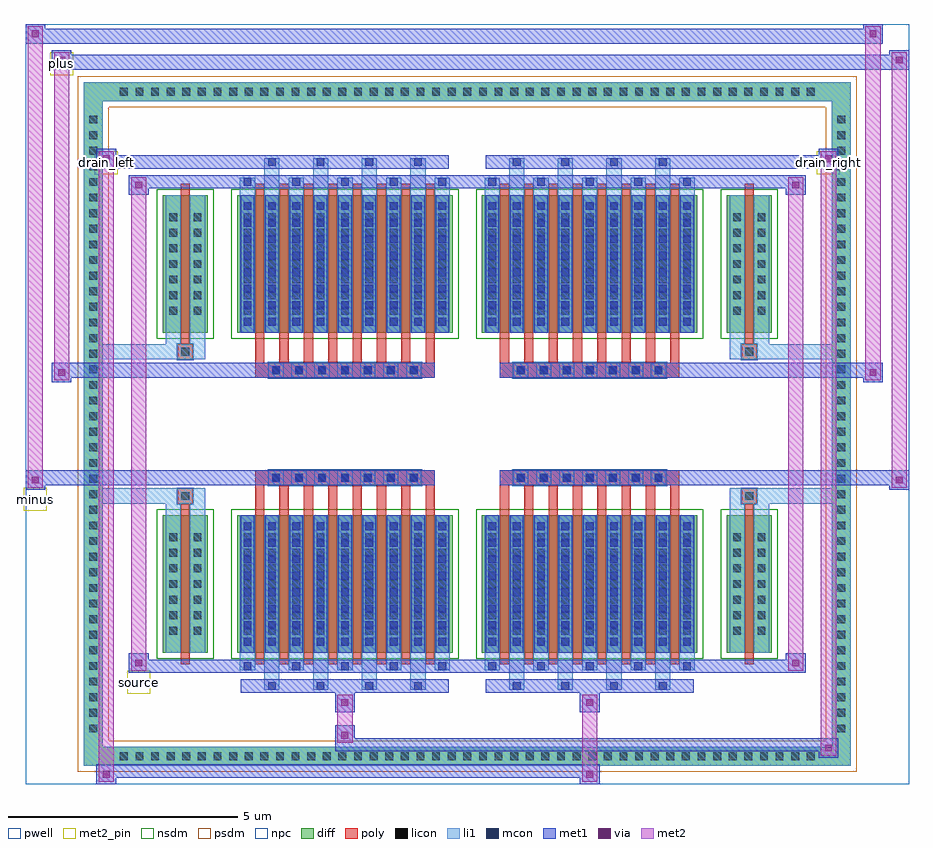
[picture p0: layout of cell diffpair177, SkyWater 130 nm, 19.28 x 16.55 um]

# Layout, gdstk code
import gdstk
lib = gdstk.Library(unit=1e-6, precision=5e-09)
def R(c, l, rs):  # rectangles x0, y0, x1, y1
    for r in rs: c.add(gdstk.rectangle(r[:2], r[2:], *l))
def A(c, l, x, y, w, h, nx, ny, dx, dy):  # array of equal rectangles
    R(c, l, [(x+i*dx, y+j*dy, x+i*dx+w, y+j*dy+h) for i in range(nx) for j in range(ny)])
def P(c, l, *ps):  # polygons
    for p in ps: c.add(gdstk.Polygon(p, *l))
pwell = (64, 44)
diff = (65, 20)
poly = (66, 20)
licon = (66, 44)
li1 = (67, 20)
mcon = (67, 44)
met1 = (68, 20)
via = (68, 44)
met2_pin = (69, 16)
met2 = (69, 20)
nsdm = (93, 44)
psdm = (94, 20)
npc = (95, 20)

diffpair177 = lib.new_cell('diffpair177')
R(diffpair177, pwell, [(-9.62,-7.84,9.62,8.71), (-6.94,-6.03,-0.01,-0.805), (0.01,-6.03,6.94,-0.805), (-6.94,0.805,-0.01,6.03), (0.01,0.805,6.94,6.03)])
A(diffpair177, diff, -7.685, -7.44, 0.41, 0.41, 45, 2, 0.34, 14.47)
A(diffpair177, diff, -8.35, -6.835, 0.41, 0.41, 1, 40, 0, 0.34)
A(diffpair177, diff, 7.94, -6.835, 0.41, 0.41, 1, 40, 0, 0.34)
R(diffpair177, diff, [(-7.685,-7.44,7.685,-7.03), (-8.35,-6.835,-7.94,6.835), (7.94,-6.835,8.35,6.835), (-6.63,-4.985,-5.65,-1.985), (-5.01,-4.985,-0.32,-1.985), (0.32,-4.985,5.01,-1.985), (5.65,-4.985,6.63,-1.985), (-6.63,1.985,-5.65,4.985), (-5.01,1.985,-0.32,4.985), (0.32,1.985,5.01,4.985), (5.65,1.985,6.63,4.985), (-7.685,7.03,7.685,7.44)])
P(diffpair177, diff, [(8.35,7.44),(-8.35,7.44),(-8.35,-7.03),(-7.94,-7.03),(-7.94,7.03),(7.94,7.03),(7.94,-7.03),(-7.94,-7.03),(-8.35,-7.03),(-8.35,-7.44),(8.35,-7.44)])
A(diffpair177, poly, -4.62, -5.235, 0.2, 3.5, 8, 2, 0.53, 6.97)
A(diffpair177, poly, 0.71, -5.235, 0.2, 3.5, 8, 2, 0.53, 6.97)
A(diffpair177, poly, -4.62, -1.735, 0.2, 0.4, 8, 2, 0.53, 3.07)
A(diffpair177, poly, 0.71, -1.735, 0.2, 0.4, 8, 2, 0.53, 3.07)
A(diffpair177, poly, -4.33, -1.335, 0.33, 0.33, 7, 2, 0.5, 2.34)
A(diffpair177, poly, 1, -1.335, 0.33, 0.33, 7, 2, 0.5, 2.34)
R(diffpair177, poly, [(-6.24,-5.235,-6.04,-1.735), (6.04,-5.235,6.24,-1.735), (-6.305,-1.735,-5.975,-1.405), (-6.305,-1.735,-5.975,-1.405), (5.975,-1.735,6.305,-1.405), (5.975,-1.735,6.305,-1.405), (-4.62,-1.335,-0.71,-1.005), (0.71,-1.335,4.62,-1.005), (-4.62,1.005,-0.71,1.335), (0.71,1.005,4.62,1.335), (-6.305,1.405,-5.975,1.735), (-6.305,1.405,-5.975,1.735), (5.975,1.405,6.305,1.735), (5.975,1.405,6.305,1.735), (-6.24,1.735,-6.04,5.235), (6.04,1.735,6.24,5.235)])
A(diffpair177, licon, -7.565, -7.32, 0.17, 0.17, 45, 2, 0.34, 14.47)
A(diffpair177, licon, -8.23, -6.715, 0.17, 0.17, 1, 40, 0, 0.34)
A(diffpair177, licon, 8.06, -6.715, 0.17, 0.17, 1, 40, 0, 0.34)
A(diffpair177, licon, -6.49, -4.59, 0.17, 0.17, 1, 7, 0, 0.34)
A(diffpair177, licon, -5.96, -4.59, 0.17, 0.17, 1, 7, 0, 0.34)
A(diffpair177, licon, -4.87, -4.59, 0.17, 0.17, 9, 7, 0.53, 0.34)
A(diffpair177, licon, 0.46, -4.59, 0.17, 0.17, 9, 7, 0.53, 0.34)
A(diffpair177, licon, 5.79, -4.59, 0.17, 0.17, 1, 7, 0, 0.34)
A(diffpair177, licon, 6.32, -4.59, 0.17, 0.17, 1, 7, 0, 0.34)
A(diffpair177, licon, -4.25, -1.255, 0.17, 0.17, 7, 2, 0.5, 2.34)
A(diffpair177, licon, 1.08, -1.255, 0.17, 0.17, 7, 2, 0.5, 2.34)
A(diffpair177, licon, -6.49, 2.38, 0.17, 0.17, 1, 7, 0, 0.34)
A(diffpair177, licon, -5.96, 2.38, 0.17, 0.17, 1, 7, 0, 0.34)
A(diffpair177, licon, -4.87, 2.38, 0.17, 0.17, 9, 7, 0.53, 0.34)
A(diffpair177, licon, 0.46, 2.38, 0.17, 0.17, 9, 7, 0.53, 0.34)
A(diffpair177, licon, 5.79, 2.38, 0.17, 0.17, 1, 7, 0, 0.34)
A(diffpair177, licon, 6.32, 2.38, 0.17, 0.17, 1, 7, 0, 0.34)
R(diffpair177, licon, [(-6.225,-1.655,-6.055,-1.485), (6.055,-1.655,6.225,-1.485), (-6.225,1.485,-6.055,1.655), (6.055,1.485,6.225,1.655)])
A(diffpair177, li1, -7.645, -7.4, 0.33, 0.33, 45, 2, 0.34, 14.47)
A(diffpair177, li1, -8.31, -6.795, 0.33, 0.33, 1, 40, 0, 0.34)
A(diffpair177, li1, 7.98, -6.795, 0.33, 0.33, 1, 40, 0, 0.34)
A(diffpair177, li1, -4.42, -5.79, 0.33, 0.805, 4, 2, 1.06, 10.775)
A(diffpair177, li1, -4.34, -5.79, 0.17, 0.17, 4, 2, 1.06, 11.41)
A(diffpair177, li1, 0.91, -5.79, 0.33, 0.805, 4, 2, 1.06, 10.775)
A(diffpair177, li1, 0.99, -5.79, 0.17, 0.17, 4, 2, 1.06, 11.41)
A(diffpair177, li1, -4.95, -5.36, 0.33, 0.375, 5, 2, 1.06, 10.345)
A(diffpair177, li1, -4.87, -5.36, 0.17, 0.17, 5, 2, 1.06, 10.55)
A(diffpair177, li1, 0.38, -5.36, 0.33, 0.375, 5, 2, 1.06, 10.345)
A(diffpair177, li1, 0.46, -5.36, 0.17, 0.17, 5, 2, 1.06, 10.55)
A(diffpair177, li1, -4.95, -4.985, 0.33, 3, 9, 2, 0.53, 6.97)
A(diffpair177, li1, 0.38, -4.985, 0.33, 3, 9, 2, 0.53, 6.97)
A(diffpair177, li1, -4.87, -4.83, 0.17, 0.17, 9, 8, 0.53, 0.36)
A(diffpair177, li1, -4.87, -4.83, 0.17, 2.69, 9, 2, 0.53, 6.97)
A(diffpair177, li1, 0.46, -4.83, 0.17, 0.17, 9, 8, 0.53, 0.36)
A(diffpair177, li1, 0.46, -4.83, 0.17, 2.69, 9, 2, 0.53, 6.97)
A(diffpair177, li1, -6.57, -4.67, 0.33, 0.33, 1, 7, 0, 0.34)
A(diffpair177, li1, -6.04, -4.67, 0.33, 0.33, 1, 7, 0, 0.34)
A(diffpair177, li1, -4.95, -4.67, 0.33, 0.33, 9, 7, 0.53, 0.34)
A(diffpair177, li1, 0.38, -4.67, 0.33, 0.33, 9, 7, 0.53, 0.34)
A(diffpair177, li1, 5.71, -4.67, 0.33, 0.33, 1, 7, 0, 0.34)
A(diffpair177, li1, 6.24, -4.67, 0.33, 0.33, 1, 7, 0, 0.34)
A(diffpair177, li1, -4.33, -1.335, 0.33, 0.33, 7, 2, 0.5, 2.34)
A(diffpair177, li1, 1, -1.335, 0.33, 0.33, 7, 2, 0.5, 2.34)
A(diffpair177, li1, -4.87, 2.14, 0.17, 0.17, 9, 8, 0.53, 0.36)
A(diffpair177, li1, 0.46, 2.14, 0.17, 0.17, 9, 8, 0.53, 0.36)
A(diffpair177, li1, -6.57, 2.3, 0.33, 0.33, 1, 7, 0, 0.34)
A(diffpair177, li1, -6.04, 2.3, 0.33, 0.33, 1, 7, 0, 0.34)
A(diffpair177, li1, -4.95, 2.3, 0.33, 0.33, 9, 7, 0.53, 0.34)
A(diffpair177, li1, 0.38, 2.3, 0.33, 0.33, 9, 7, 0.53, 0.34)
A(diffpair177, li1, 5.71, 2.3, 0.33, 0.33, 1, 7, 0, 0.34)
A(diffpair177, li1, 6.24, 2.3, 0.33, 0.33, 1, 7, 0, 0.34)
R(diffpair177, li1, [(-8.35,-7.44,-7.94,-7.03), (-8.35,-7.44,-7.94,-7.03), (-7.94,-7.44,7.94,-7.03), (7.94,-7.44,8.35,-7.03), (7.94,-7.44,8.35,-7.03), (-8.35,-7.03,-7.94,7.03), (7.94,-7.03,8.35,7.03), (-6.57,-4.985,-6.24,-1.985), (-6.04,-4.985,-5.71,-1.985), (5.71,-4.985,6.04,-1.985), (6.24,-4.985,6.57,-1.985), (-6.57,-1.985,-6.24,-1.405), (-6.04,-1.985,-5.71,-1.405), (5.71,-1.985,6.04,-1.405), (6.24,-1.985,6.57,-1.405), (-8.35,-1.735,-6.305,-1.405), (-6.57,-1.735,-6.305,-1.405), (-6.305,-1.735,-5.975,-1.405), (-5.975,-1.735,-5.71,-1.405), (5.71,-1.735,5.975,-1.405), (5.975,-1.735,6.305,-1.405), (5.975,-1.735,8.35,-1.405), (6.305,-1.735,6.57,-1.405), (-8.35,1.405,-6.305,1.735), (-6.57,1.405,-6.305,1.735), (-6.57,1.405,-6.24,1.985), (-6.305,1.405,-5.975,1.735), (-6.04,1.405,-5.71,1.985), (-5.975,1.405,-5.71,1.735), (5.71,1.405,5.975,1.735), (5.71,1.405,6.04,1.985), (5.975,1.405,6.305,1.735), (5.975,1.405,8.35,1.735), (6.24,1.405,6.57,1.985), (6.305,1.405,6.57,1.735), (-6.57,1.985,-6.24,4.985), (-6.04,1.985,-5.71,4.985), (5.71,1.985,6.04,4.985), (6.24,1.985,6.57,4.985), (-8.35,7.03,-7.94,7.44), (-8.35,7.03,-7.94,7.44), (-7.94,7.03,7.94,7.44), (7.94,7.03,8.35,7.44), (7.94,7.03,8.35,7.44)])
A(diffpair177, mcon, -4.34, -5.79, 0.17, 0.17, 4, 2, 1.06, 11.41)
A(diffpair177, mcon, 0.99, -5.79, 0.17, 0.17, 4, 2, 1.06, 11.41)
A(diffpair177, mcon, -4.87, -5.36, 0.17, 0.17, 5, 2, 1.06, 10.55)
A(diffpair177, mcon, 0.46, -5.36, 0.17, 0.17, 5, 2, 1.06, 10.55)
A(diffpair177, mcon, -4.87, -4.83, 0.17, 0.17, 9, 8, 0.53, 0.36)
A(diffpair177, mcon, 0.46, -4.83, 0.17, 0.17, 9, 8, 0.53, 0.36)
A(diffpair177, mcon, -4.25, -1.255, 0.17, 0.17, 7, 2, 0.5, 2.34)
A(diffpair177, mcon, 1.08, -1.255, 0.17, 0.17, 7, 2, 0.5, 2.34)
A(diffpair177, mcon, -4.87, 2.14, 0.17, 0.17, 9, 8, 0.53, 0.36)
A(diffpair177, mcon, 0.46, 2.14, 0.17, 0.17, 9, 8, 0.53, 0.36)
A(diffpair177, met1, -4.4, -5.85, 0.29, 0.29, 4, 2, 1.06, 11.41)
A(diffpair177, met1, 0.93, -5.85, 0.29, 0.29, 4, 2, 1.06, 11.41)
A(diffpair177, met1, -4.93, -5.42, 0.29, 0.29, 5, 2, 1.06, 10.55)
A(diffpair177, met1, 0.4, -5.42, 0.29, 0.29, 5, 2, 1.06, 10.55)
A(diffpair177, met1, -4.93, -4.985, 0.29, 3, 9, 2, 0.53, 6.97)
A(diffpair177, met1, 0.4, -4.985, 0.29, 3, 9, 2, 0.53, 6.97)
A(diffpair177, met1, -4.93, -4.89, 0.29, 0.29, 9, 8, 0.53, 0.36)
A(diffpair177, met1, 0.4, -4.89, 0.29, 0.29, 9, 8, 0.53, 0.36)
A(diffpair177, met1, -4.31, -1.315, 0.29, 0.29, 7, 2, 0.5, 2.34)
A(diffpair177, met1, 1.02, -1.315, 0.29, 0.29, 7, 2, 0.5, 2.34)
A(diffpair177, met1, -4.93, 2.08, 0.29, 0.29, 9, 8, 0.53, 0.36)
A(diffpair177, met1, 0.4, 2.08, 0.29, 0.29, 9, 8, 0.53, 0.36)
R(diffpair177, met1, [(-8.08,-7.84,-7.65,-7.41), (2.45,-7.84,2.88,-7.41), (-8.08,-7.7,2.88,-7.41), (7.65,-7.27,8.08,-6.84), (-2.88,-7.13,8.08,-6.84), (-2.88,-6.99,-2.45,-6.56), (-2.88,-6.28,-2.45,-5.85), (2.45,-6.28,2.88,-5.85), (-4.93,-5.85,-0.4,-5.56), (0.4,-5.85,4.93,-5.56), (-7.37,-5.42,-6.94,-4.99), (-7.37,-5.42,-4.93,-5.13), (-4.93,-5.42,-0.4,-5.13), (-0.4,-5.42,0.4,-5.13), (0.4,-5.42,4.93,-5.13), (4.93,-5.42,7.37,-5.13), (6.94,-5.42,7.37,-4.99), (-9.62,-1.435,-9.19,-1.005), (9.19,-1.435,9.62,-1.005), (-9.62,-1.335,-0.71,-1.005), (-4.62,-1.335,-0.71,-1.005), (0.71,-1.335,4.62,-1.005), (0.71,-1.335,9.62,-1.005), (-9.05,0.905,-8.62,1.335), (8.62,0.905,9.05,1.335), (-9.05,1.005,-4.62,1.335), (-4.62,1.005,-0.71,1.335), (0.71,1.005,4.62,1.335), (4.62,1.005,9.05,1.335), (-7.37,4.99,-6.94,5.42), (6.94,4.99,7.37,5.42), (-7.37,5.13,-4.93,5.42), (-4.93,5.13,-0.4,5.42), (-0.4,5.13,0.4,5.42), (0.4,5.13,4.93,5.42), (4.93,5.13,7.37,5.42), (-8.08,5.56,-7.65,5.99), (-8.08,5.56,-4.93,5.85), (-4.93,5.56,-0.4,5.85), (0.4,5.56,4.93,5.85), (4.93,5.56,8.08,5.85), (7.65,5.56,8.08,5.99), (-9.05,7.71,-8.62,8.14), (-9.05,7.71,-6.94,8.04), (-6.94,7.71,6.94,8.04), (6.94,7.71,9.62,8.04), (9.19,7.71,9.62,8.14), (-9.62,8.28,-9.19,8.71), (-9.62,8.28,-6.94,8.61), (-6.94,8.28,6.94,8.61), (6.94,8.28,9.05,8.61), (8.62,8.28,9.05,8.71)])
R(diffpair177, via, [(-7.94,-7.7,-7.79,-7.55), (2.59,-7.7,2.74,-7.55), (7.79,-7.13,7.94,-6.98), (-2.74,-6.85,-2.59,-6.7), (-2.74,-6.14,-2.59,-5.99), (2.59,-6.14,2.74,-5.99), (-7.23,-5.28,-7.08,-5.13), (7.08,-5.28,7.23,-5.13), (-9.48,-1.295,-9.33,-1.145), (9.33,-1.295,9.48,-1.145), (-8.91,1.045,-8.76,1.195), (8.76,1.045,8.91,1.195), (-7.23,5.13,-7.08,5.28), (7.08,5.13,7.23,5.28), (-7.94,5.7,-7.79,5.85), (7.79,5.7,7.94,5.85), (-8.91,7.85,-8.76,8), (9.33,7.85,9.48,8), (-9.48,8.42,-9.33,8.57), (8.76,8.42,8.91,8.57)])
R(diffpair177, met2_pin, [(-7.405,-5.87,-6.905,-5.37), (-9.655,-1.885,-9.155,-1.385), (-8.115,5.44,-7.615,5.94), (7.615,5.44,8.115,5.94), (-9.085,7.59,-8.585,8.09)])
R(diffpair177, met2, [(-8.03,-7.79,-7.7,-7.46), (-8.03,-7.79,-7.7,5.94), (2.5,-7.79,2.83,-7.46), (2.5,-7.46,2.83,-6.23), (7.7,-7.22,8.03,-6.89), (7.7,-7.22,8.03,5.94), (-2.83,-6.94,-2.5,-6.61), (-2.83,-6.61,-2.5,-6.23), (-2.83,-6.23,-2.5,-5.9), (2.5,-6.23,2.83,-5.9), (-7.32,-5.37,-6.99,-5.04), (-7.32,-5.37,-6.99,5.37), (6.99,-5.37,7.32,-5.04), (6.99,-5.37,7.32,5.37), (-9.57,-1.385,-9.24,-1.055), (-9.57,-1.385,-9.24,8.66), (9.24,-1.385,9.57,-1.055), (9.24,-1.385,9.57,8.09), (-9,0.955,-8.67,1.285), (-9,0.955,-8.67,8.09), (8.67,0.955,9,1.285), (8.67,0.955,9,8.66), (-7.32,5.04,-6.99,5.37), (6.99,5.04,7.32,5.37), (-8.03,5.61,-7.7,5.94), (7.7,5.61,8.03,5.94), (-9,7.76,-8.67,8.09), (9.24,7.76,9.57,8.09), (-9.57,8.33,-9.24,8.66), (8.67,8.33,9,8.66)])
P(diffpair177, met2, [(9.57,-1.385),(9.57,-1.385),(9.57,-1.055),(9.57,-1.055)],
  [(9.57,7.76),(9.57,7.76),(9.57,8.09),(9.57,8.09)],
  [(-9.24,-1.385),(-9.24,-1.385),(-9.24,-1.055),(-9.24,-1.055)],
  [(-9.24,8.33),(-9.24,8.33),(-9.24,8.66),(-9.24,8.66)],
  [(9,0.955),(9,0.955),(9,1.285),(9,1.285)],
  [(9,8.33),(9,8.33),(9,8.66),(9,8.66)],
  [(-8.67,0.955),(-8.67,0.955),(-8.67,1.285),(-8.67,1.285)],
  [(-8.67,7.76),(-8.67,7.76),(-8.67,8.09),(-8.67,8.09)],
  [(-7.7,-7.79),(-7.7,-7.79),(-7.7,-7.46),(-7.7,-7.46)],
  [(-7.7,5.61),(-7.7,5.61),(-7.7,5.94),(-7.7,5.94)],
  [(8.03,-7.22),(8.03,-7.22),(8.03,-6.89),(8.03,-6.89)],
  [(8.03,5.61),(8.03,5.61),(8.03,5.94),(8.03,5.94)],
  [(-6.99,-5.37),(-6.99,-5.37),(-6.99,-5.04),(-6.99,-5.04)],
  [(-6.99,5.04),(-6.99,5.04),(-6.99,5.37),(-6.99,5.37)],
  [(7.32,-5.37),(7.32,-5.37),(7.32,-5.04),(7.32,-5.04)],
  [(7.32,5.04),(7.32,5.04),(7.32,5.37),(7.32,5.37)])
R(diffpair177, nsdm, [(-6.76,-5.115,-5.52,-1.855), (-5.14,-5.115,-0.19,-1.855), (0.19,-5.115,5.14,-1.855), (5.52,-5.115,6.76,-1.855), (-6.76,1.855,-5.52,5.115), (-5.14,1.855,-0.19,5.115), (0.19,1.855,5.14,5.115), (5.52,1.855,6.76,5.115)])
P(diffpair177, psdm, [(8.48,7.57),(-8.48,7.57),(-8.48,-6.9),(-7.81,-6.9),(-7.81,6.9),(7.81,6.9),(7.81,-6.9),(-7.81,-6.9),(-8.48,-6.9),(-8.48,-7.57),(8.48,-7.57)])
A(diffpair177, npc, -4.35, -1.355, 0.37, 0.37, 7, 2, 0.5, 2.34)
A(diffpair177, npc, 0.98, -1.355, 0.37, 0.37, 7, 2, 0.5, 2.34)
R(diffpair177, npc, [(-6.325,-1.755,-5.955,-1.385), (5.955,-1.755,6.325,-1.385), (-4.35,-1.355,-3.48,-0.985), (-4.35,-1.355,-3.48,-0.985), (-3.85,-1.355,-2.98,-0.985), (-3.85,-1.355,-2.98,-0.985), (-3.35,-1.355,-2.48,-0.985), (-3.35,-1.355,-2.48,-0.985), (-2.85,-1.355,-1.98,-0.985), (-2.85,-1.355,-1.98,-0.985), (-2.35,-1.355,-1.48,-0.985), (-2.35,-1.355,-1.48,-0.985), (-1.85,-1.355,-0.98,-0.985), (-1.85,-1.355,-0.98,-0.985), (0.98,-1.355,1.85,-0.985), (0.98,-1.355,1.85,-0.985), (1.48,-1.355,2.35,-0.985), (1.48,-1.355,2.35,-0.985), (1.98,-1.355,2.85,-0.985), (1.98,-1.355,2.85,-0.985), (2.48,-1.355,3.35,-0.985), (2.48,-1.355,3.35,-0.985), (2.98,-1.355,3.85,-0.985), (2.98,-1.355,3.85,-0.985), (3.48,-1.355,4.35,-0.985), (3.48,-1.355,4.35,-0.985), (-4.35,0.985,-3.48,1.355), (-4.35,0.985,-3.48,1.355), (-3.85,0.985,-2.98,1.355), (-3.85,0.985,-2.98,1.355), (-3.35,0.985,-2.48,1.355), (-3.35,0.985,-2.48,1.355), (-2.85,0.985,-1.98,1.355), (-2.85,0.985,-1.98,1.355), (-2.35,0.985,-1.48,1.355), (-2.35,0.985,-1.48,1.355), (-1.85,0.985,-0.98,1.355), (-1.85,0.985,-0.98,1.355), (0.98,0.985,1.85,1.355), (0.98,0.985,1.85,1.355), (1.48,0.985,2.35,1.355), (1.48,0.985,2.35,1.355), (1.98,0.985,2.85,1.355), (1.98,0.985,2.85,1.355), (2.48,0.985,3.35,1.355), (2.48,0.985,3.35,1.355), (2.98,0.985,3.85,1.355), (2.98,0.985,3.85,1.355), (3.48,0.985,4.35,1.355), (3.48,0.985,4.35,1.355), (-6.325,1.385,-5.955,1.755), (5.955,1.385,6.325,1.755)])
diffpair177.add(gdstk.Label('minus', (-9.405,-1.635), layer=69, texttype=5))
diffpair177.add(gdstk.Label('drain_right', (7.865,5.69), layer=69, texttype=5))
diffpair177.add(gdstk.Label('drain_left', (-7.865,5.69), layer=69, texttype=5))
diffpair177.add(gdstk.Label('source', (-7.155,-5.62), layer=69, texttype=5))
diffpair177.add(gdstk.Label('plus', (-8.835,7.84), layer=69, texttype=5))

lib.write_gds('diffpair177.gds')
